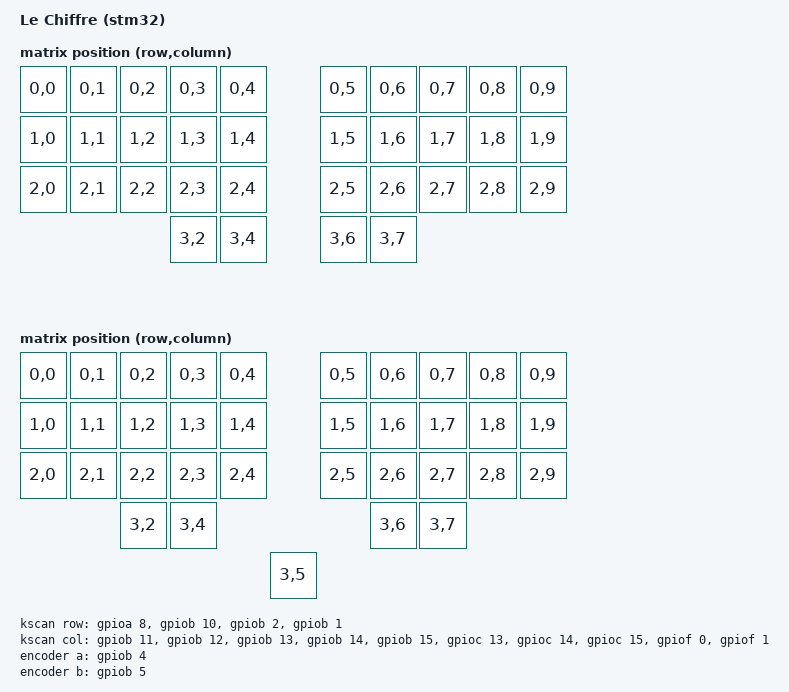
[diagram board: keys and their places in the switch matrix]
/*
 * Copyright (c) 2020 The ZMK Contributors
 *
 * SPDX-License-Identifier: MIT
 */

/dts-v1/;
#include <st/f0/stm32f072Xb.dtsi>
#include <st/f0/stm32f072v(8-b)tx-pinctrl.dtsi>

#include <dt-bindings/led/led.h>
#include <dt-bindings/zmk/matrix_transform.h>

/ {
    model = "Le Chiffre (stm32)";
    compatible = "sporkus,le_chiffre_stm32", "st,stm32f072";

    chosen {
        zephyr,sram = &sram0;
        zephyr,flash = &flash0;
        zephyr,console = &cdc_acm_uart;
        zmk,kscan = &kscan;
        zmk,matrix_transform = &transform;
        zephyr,display = &oled;
        /* zmk,underglow = &led_strip; */
    };

    transform: transform {
        compatible = "zmk,matrix-transform";
        rows = <4>;
        columns = <10>;

        map = <
        RC(0,0) RC(0,1) RC(0,2) RC(0,3) RC(0,4)     RC(0,5) RC(0,6) RC(0,7) RC(0,8) RC(0,9)
        RC(1,0) RC(1,1) RC(1,2) RC(1,3) RC(1,4)     RC(1,5) RC(1,6) RC(1,7) RC(1,8) RC(1,9)
        RC(2,0) RC(2,1) RC(2,2) RC(2,3) RC(2,4)     RC(2,5) RC(2,6) RC(2,7) RC(2,8) RC(2,9)
                        RC(3,2)     RC(3,4)             RC(3,6)     RC(3,7)
        >;
    };

    transform_with_encoder: transform_with_encoder {
        compatible = "zmk,matrix-transform";
        rows = <4>;
        columns = <10>;

        map = <
        RC(0,0) RC(0,1) RC(0,2) RC(0,3) RC(0,4)             RC(0,5) RC(0,6) RC(0,7) RC(0,8) RC(0,9)
        RC(1,0) RC(1,1) RC(1,2) RC(1,3) RC(1,4)             RC(1,5) RC(1,6) RC(1,7) RC(1,8) RC(1,9)
        RC(2,0) RC(2,1) RC(2,2) RC(2,3) RC(2,4)             RC(2,5) RC(2,6) RC(2,7) RC(2,8) RC(2,9)
                        RC(3,2)     RC(3,4)                     RC(3,6)     RC(3,7)
                                                RC(3,5)
        >;
    };

    kscan: kscan {
        compatible = "zmk,kscan-gpio-matrix";
        diode-direction = "row2col";

        col-gpios
        = <&gpiob 11 (GPIO_ACTIVE_HIGH | GPIO_PULL_DOWN)>
        , <&gpiob 12 (GPIO_ACTIVE_HIGH | GPIO_PULL_DOWN)>
        , <&gpiob 13 (GPIO_ACTIVE_HIGH | GPIO_PULL_DOWN)>
        , <&gpiob 14 (GPIO_ACTIVE_HIGH | GPIO_PULL_DOWN)>
        , <&gpiob 15 (GPIO_ACTIVE_HIGH | GPIO_PULL_DOWN)>
        , <&gpioc 13 (GPIO_ACTIVE_HIGH | GPIO_PULL_DOWN)>
        , <&gpioc 14 (GPIO_ACTIVE_HIGH | GPIO_PULL_DOWN)>
        , <&gpioc 15 (GPIO_ACTIVE_HIGH | GPIO_PULL_DOWN)>
        , <&gpiof 0  (GPIO_ACTIVE_HIGH | GPIO_PULL_DOWN)>
        , <&gpiof 1  (GPIO_ACTIVE_HIGH | GPIO_PULL_DOWN)>
        ;
        row-gpios
        = <&gpioa 8  (GPIO_ACTIVE_HIGH | GPIO_PULL_DOWN)>
        , <&gpiob 10 (GPIO_ACTIVE_HIGH | GPIO_PULL_DOWN)>
        , <&gpiob 2 (GPIO_ACTIVE_HIGH | GPIO_PULL_DOWN)>
        , <&gpiob 1 (GPIO_ACTIVE_HIGH | GPIO_PULL_DOWN)>
        ;
    };

    encoder: encoder {
        compatible = "alps,ec11";
        label = "ENCODER";
        a-gpios = <&gpiob 4 (GPIO_ACTIVE_HIGH | GPIO_PULL_UP)>;
        b-gpios = <&gpiob 5 (GPIO_ACTIVE_HIGH | GPIO_PULL_UP)>;
	    steps = <30>;
    };

    sensors: sensors {
        compatible = "zmk,keymap-sensors";
        sensors = <&encoder>;
	    triggers-per-rotation = <15>;
    };
};

&i2c1 {
    pinctrl-0 = <&i2c1_scl_pb6 &i2c1_sda_pb7>;
    pinctrl-names = "default";
    status = "okay";
    clock-frequency = <I2C_BITRATE_FAST>;

    oled: ssd1306@3c {
        compatible = "solomon,ssd1306fb";
        reg = <0x3c>;
        width = <128>;
        height = <32>;
        segment-offset = <0>;
        page-offset = <0>;
        display-offset = <0>;
        multiplex-ratio = <31>;
        segment-remap;
        com-invdir;
        com-sequential;
        prechargep = <0x22>;
    };
};

/* &spi3 { */
/*   led_strip: ws2812@0 { */
/*     compatible = "worldsemi,ws2812-spi"; */
/*     label = "WS2812"; */

/*     /1* SPI *1/ */
/*     reg = <0>; */
/*     spi-max-frequency = <5250000>; */

/*     /1* WS2812 *1/ */
/*     chain-length = <11>; /1* number of LEDs *1/ */
/*     spi-one-frame = <0x70>; /1* make sure to configure this properly for your SOC *1/ */
/*     spi-zero-frame = <0x40>; /1* make sure to configure this properly for your SOC *1/ */
/*     color-mapping = <LED_COLOR_ID_GREEN LED_COLOR_ID_RED LED_COLOR_ID_BLUE>; */
/*   }; */
/* }; */

&usb {
    status = "okay";
    cdc_acm_uart: cdc_acm_uart {
        compatible = "zephyr,cdc-acm-uart";
    };
};

&clk_hsi {
    status = "okay";
};

&pll {
    prediv = <1>;
    mul = <6>;
    clocks = <&clk_hsi>;
    status = "okay";
};

&rcc {
    clocks = <&pll>;
    clock-frequency = <DT_FREQ_M(48)>;
    ahb-prescaler = <1>;
    apb1-prescaler = <1>;
};


&rtc {
    status = "okay";
};

&flash0 {
    /*
     * For more information, see:
     * http: //docs.zephyrproject.org/latest/guides/dts/index.html#flash-partitions
     */
    partitions {
        compatible = "fixed-partitions";
        #address-cells = <1>;
        #size-cells = <1>;

        /* Set 6Kb of storage at the end of the 128Kb of flash */
        storage_partition: partition@3e800 {
            reg = <0x0001e800 0x00001800>;
        };
    };
};
